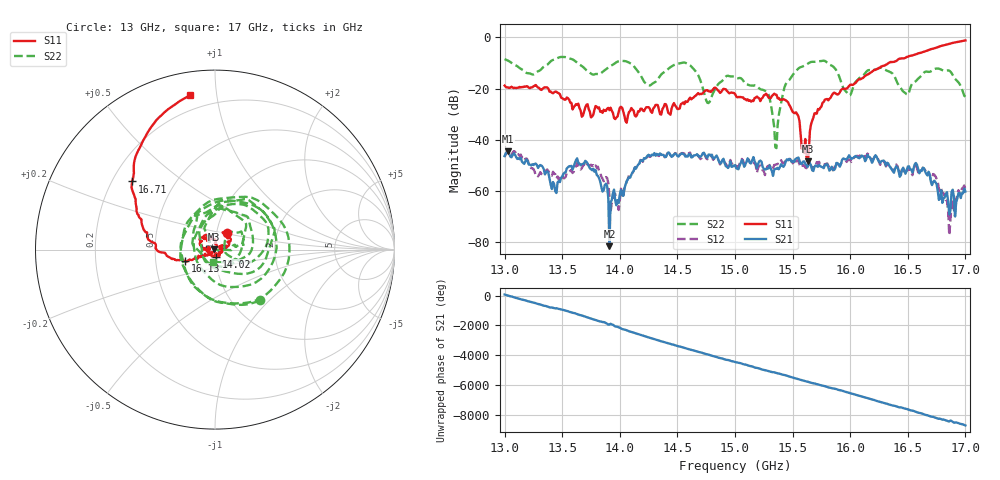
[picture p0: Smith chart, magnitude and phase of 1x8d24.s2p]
!Keysight Technologies,P9374A,MY57211807,A.19.30.04
!Date: Friday, May 08, 2026 15:18:57
!Correction: S11(C  2-Port  )
!S21(C  2-Port  )
!S12(C  2-Port  )
!S22(C  2-Port  )
!S2P File: Measurements: S11, S21, S12, S22:
# Hz S  dB  R 50
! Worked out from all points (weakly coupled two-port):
!   401 points, 13 GHz to 17 GHz, reference 50 ohm
!   highest |S21| = -44.59 dB at 13.03 GHz (marker M1); lowest = -81.6 dB at 13.91 GHz (marker M2)
!   lowest |S11| = -48.5 dB at 15.63 GHz (marker M3), VSWR 1.01, Z = 49.6 + j0.103 ohm
!   |S11| at or under -10 dB: start of sweep to 16.33 GHz
!   |S22| runs from -43.3 to -7.6 dB; largest |S21 - S12| = 0.0015
!   S11 on the Smith chart (normalised r, x): 13 GHz: 1.12, +0.21; 14.02 GHz: 1.01, -0.08; 16.13 GHz: 0.71, -0.09; 16.71 GHz: 0.28, +0.33; 17 GHz: 0.12, +0.85
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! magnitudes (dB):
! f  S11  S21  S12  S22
! 13 GHz  -18.8  -46.4  -46.7  -8.5
! 13.03 GHz  -19.5  -44.6  -44.3  -9.1
! 13.43 GHz  -21.4  -57.4  -53.3  -8.7
! 13.67 GHz  -31.0  -49.6  -51.1  -11.1
! 13.91 GHz  -28.5  -81.6  -62.2  -11.4
! 14.02 GHz  -27.5  -61.4  -60.0  -9.2
! 14.34 GHz  -28.3  -45.9  -46.4  -15.6
! 14.58 GHz  -25.3  -46.3  -46.3  -10.1
! 14.77 GHz  -21.0  -45.8  -46.4  -25.7
! 15 GHz  -22.1  -50.0  -49.9  -15.6
! 15.28 GHz  -22.5  -51.1  -50.5  -21.4
! 15.35 GHz  -22.3  -51.4  -49.8  -43.0
! 15.44 GHz  -24.6  -48.6  -48.3  -18.3
! 15.63 GHz  -48.5  -50.6  -50.7  -10.3
! 15.67 GHz  -32.6  -52.0  -51.2  -9.5
! 15.99 GHz  -19.0  -46.1  -47.7  -22.6
! 16.13 GHz  -15.0  -48.4  -46.9  -14.0
! 16.34 GHz  -9.9  -50.3  -50.6  -13.4
! 16.49 GHz  -7.7  -52.0  -52.3  -22.2
! 16.71 GHz  -4.5  -57.7  -55.4  -13.0
! 16.86 GHz  -2.5  -69.3  -77.4  -13.0
! 17 GHz  -1.2  -60.3  -59.7  -23.2
